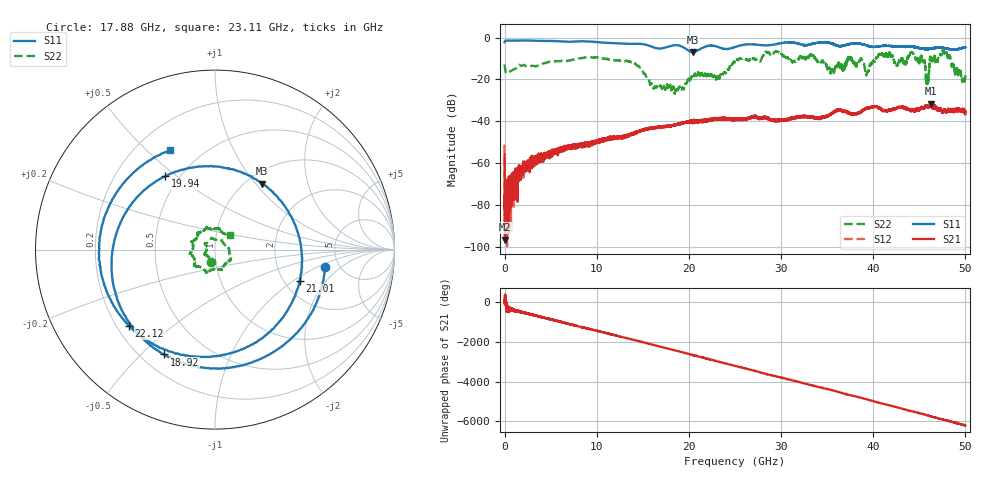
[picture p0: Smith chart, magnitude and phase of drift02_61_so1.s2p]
!Created with skrf (http://scikit-rf.org).
# Hz S RI R 50.0
!freq ReS11 ImS11 ReS21 ImS21 ReS12 ImS12 ReS22 ImS22
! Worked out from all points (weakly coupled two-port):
!   10001 points, 300 kHz to 50 GHz, reference 50 ohm
!   highest |S21| = -31.52 dB at 46.23 GHz (marker M1); lowest = -96.6 dB at 40.3 MHz (marker M2)
!   lowest |S11| = -6.9 dB at 20.44 GHz (marker M3), VSWR 2.64, Z = 58.7 + j54 ohm
!   |S11| at or under -10 dB: nowhere
!   |S22| runs from -26.8 to -6.0 dB; largest |S21 - S12| = 0.0029
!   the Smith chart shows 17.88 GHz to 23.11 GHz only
!   S11 on the Smith chart (normalised r, x): 17.88 GHz: 3.85, -1.25; 18.92 GHz: 0.29, -0.59; 19.94 GHz: 0.42, +0.45; 21.01 GHz: 2.40, -1.14; 22.12 GHz: 0.25, -0.36; 23.11 GHz: 0.34, +0.59
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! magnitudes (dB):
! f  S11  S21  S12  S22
! 300 kHz  -2.1  -55.8  -51.1  -12.7
! 40.3 MHz  -1.7  -96.6  -82.7  -14.5
! 260.3 MHz  -1.4  -81.2  -75.8  -17.0
! 3.065 GHz  -1.4  -60.2  -59.3  -13.4
! 8.335 GHz  -1.7  -52.1  -51.2  -9.7
! 13.71 GHz  -2.9  -46.2  -46.5  -11.7
! 16.67 GHz  -5.2  -42.7  -42.8  -23.7
! 17.88 GHz  -4.1  -42.4  -42.2  -22.5
! 18.92 GHz  -3.7  -41.4  -41.3  -23.6
! 19.94 GHz  -6.1  -40.0  -40.3  -19.7
! 20.44 GHz  -6.9  -40.2  -40.4  -19.2
! 21.01 GHz  -6.0  -40.0  -40.0  -16.8
! 22.12 GHz  -3.9  -39.4  -39.4  -17.6
! 23.11 GHz  -4.3  -38.7  -38.9  -18.6
! 25 GHz  -4.5  -38.8  -38.8  -11.5
! 33.34 GHz  -3.0  -37.9  -37.7  -8.4
! 39.33 GHz  -3.8  -33.9  -33.7  -16.6
! 41.67 GHz  -3.9  -34.7  -34.8  -7.7
! 45.85 GHz  -5.5  -32.7  -32.8  -20.0
! 46.23 GHz  -5.2  -31.5  -31.6  -9.4
! 47.75 GHz  -5.0  -34.4  -34.8  -7.1
! 50 GHz  -4.7  -36.7  -36.1  -18.4
